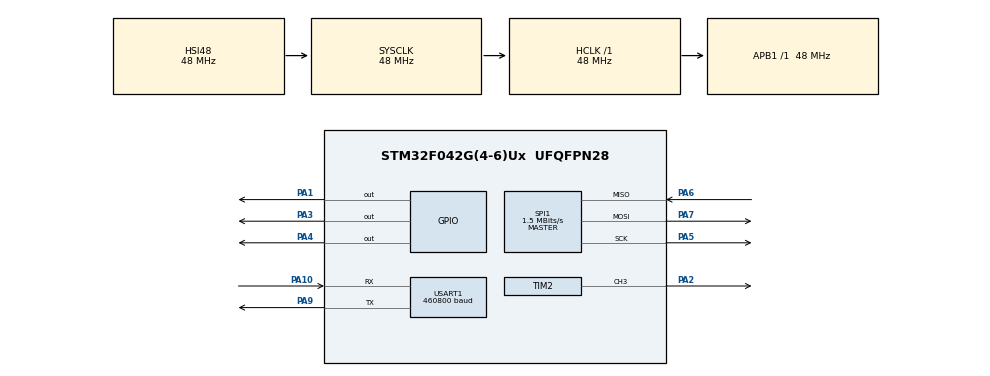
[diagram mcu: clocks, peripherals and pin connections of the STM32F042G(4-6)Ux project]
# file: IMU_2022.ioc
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Dma.Request0=SPI1_RX
Dma.Request1=SPI1_TX
Dma.Request2=USART1_TX
Dma.SPI1_RX.0.Direction=DMA_PERIPH_TO_MEMORY
Dma.SPI1_RX.0.Instance=DMA1_Channel2
Dma.SPI1_RX.0.MemDataAlignment=DMA_MDATAALIGN_BYTE
Dma.SPI1_RX.0.MemInc=DMA_MINC_ENABLE
Dma.SPI1_RX.0.Mode=DMA_CIRCULAR
Dma.SPI1_RX.0.PeriphDataAlignment=DMA_PDATAALIGN_BYTE
Dma.SPI1_RX.0.PeriphInc=DMA_PINC_DISABLE
Dma.SPI1_RX.0.Priority=DMA_PRIORITY_HIGH
Dma.SPI1_TX.1.Direction=DMA_MEMORY_TO_PERIPH
Dma.SPI1_TX.1.Instance=DMA1_Channel3
Dma.SPI1_TX.1.MemDataAlignment=DMA_MDATAALIGN_BYTE
Dma.SPI1_TX.1.MemInc=DMA_MINC_ENABLE
Dma.SPI1_TX.1.Mode=DMA_NORMAL
Dma.SPI1_TX.1.PeriphDataAlignment=DMA_PDATAALIGN_BYTE
Dma.SPI1_TX.1.PeriphInc=DMA_PINC_DISABLE
Dma.SPI1_TX.1.Priority=DMA_PRIORITY_LOW
Dma.USART1_TX.2.Direction=DMA_MEMORY_TO_PERIPH
Dma.USART1_TX.2.Instance=DMA1_Channel4
Dma.USART1_TX.2.MemDataAlignment=DMA_MDATAALIGN_BYTE
Dma.USART1_TX.2.MemInc=DMA_MINC_ENABLE
Dma.USART1_TX.2.Mode=DMA_NORMAL
Dma.USART1_TX.2.PeriphDataAlignment=DMA_PDATAALIGN_BYTE
Dma.USART1_TX.2.PeriphInc=DMA_PINC_DISABLE
Dma.USART1_TX.2.Priority=DMA_PRIORITY_LOW
Mcu.Family=STM32F0
Mcu.Name=STM32F042G(4-6)Ux
Mcu.Package=UFQFPN28
NVIC.DMA1_Channel2_3_IRQn=true\:0\:0\:false\:false\:true\:false\:true
NVIC.DMA1_Channel4_5_IRQn=true\:0\:0\:false\:false\:true\:false\:true
NVIC.USART1_IRQn=true\:0\:0\:false\:false\:true\:true\:true
PA1.GPIO_ModeDefaultOutputPP=GPIO_MODE_OUTPUT_OD
PA1.GPIO_PuPd=GPIO_PULLUP
PA1.GPIO_Speed=GPIO_SPEED_FREQ_HIGH
PA1.PinState=GPIO_PIN_SET
PA1.Signal=GPIO_Output
PA10.Mode=Asynchronous
PA10.Signal=USART1_RX
PA2.Signal=S_TIM2_CH3
PA3.GPIO_PuPd=GPIO_PULLUP
PA3.GPIO_Speed=GPIO_SPEED_FREQ_HIGH
PA3.PinState=GPIO_PIN_SET
PA3.Signal=GPIO_Output
PA4.GPIO_PuPd=GPIO_PULLUP
PA4.GPIO_Speed=GPIO_SPEED_FREQ_HIGH
PA4.PinState=GPIO_PIN_SET
PA4.Signal=GPIO_Output
PA5.Mode=Full_Duplex_Master
PA5.Signal=SPI1_SCK
PA6.Mode=Full_Duplex_Master
PA6.Signal=SPI1_MISO
PA7.Mode=Full_Duplex_Master
PA7.Signal=SPI1_MOSI
PA9.Mode=Asynchronous
PA9.Signal=USART1_TX
PF0-OSC_IN.Mode=HSE-External-Oscillator
PF0-OSC_IN.Signal=RCC_OSC_IN
PF1-OSC_OUT.Mode=HSE-External-Oscillator
PF1-OSC_OUT.Signal=RCC_OSC_OUT
ProjectManager.HeapSize=0x200
ProjectManager.StackSize=0x400
ProjectManager.TargetToolchain=MDK-ARM V5
RCC.AHBFreq_Value=48000000
RCC.APB1Freq_Value=48000000
RCC.APB1TimFreq_Value=48000000
RCC.HCLKFreq_Value=48000000
RCC.SYSCLKFreq_VALUE=48000000
RCC.SYSCLKSource=RCC_SYSCLKSOURCE_HSI48
SH.S_TIM2_CH3.0=TIM2_CH3,PWM Generation3 CH3
SPI1.BaudRatePrescaler=SPI_BAUDRATEPRESCALER_32
SPI1.CLKPhase=SPI_PHASE_2EDGE
SPI1.CLKPolarity=SPI_POLARITY_HIGH
SPI1.CalculateBaudRate=1.5 MBits/s
SPI1.DataSize=SPI_DATASIZE_8BIT
SPI1.Direction=SPI_DIRECTION_2LINES
SPI1.Mode=SPI_MODE_MASTER
SPI1.VirtualType=VM_MASTER
TIM2.Channel-PWM\ Generation3\ CH3=TIM_CHANNEL_3
TIM2.Period=9999
TIM2.Prescaler=47
TIM3.Prescaler=47
USART1.BaudRate=460800
USART1.Mode=MODE_TX
USART1.VirtualMode-Asynchronous=VM_ASYNC
VP_TIM2_VS_ClockSourceINT.Mode=Internal
VP_TIM3_VS_ClockSourceINT.Mode=Internal
board=custom

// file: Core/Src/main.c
/* USER CODE BEGIN Header */
/**
 ******************************************************************************
 * @file           : main.c
 * @brief          : Main program body
 ******************************************************************************
 * @attention
 *
 * <h2><center>&copy; Copyright (c) 2022 STMicroelectronics.
 * All rights reserved.</center></h2>
 *
 * This software component is licensed by ST under BSD 3-Clause license,
 * the "License"; You may not use this file except in compliance with the
 * License. You may obtain a copy of the License at:
 *                        opensource.org/licenses/BSD-3-Clause
 *
 ******************************************************************************
 */
/* USER CODE END Header */
#include "main.h"
#include "dma.h"
#include "spi.h"
#include "tim.h"
#include "usart.h"
#include "gpio.h"

/* USER CODE BEGIN PV */
int16_t gyro_bias[3], acc_bias[3];
float tempeature;
int8_t IMU_init_flag;
extern float icm_accel[3];
extern float acc_inti_norm;
int start_nums;
/* USER CODE END PV */

void SystemClock_Config(void);

int main(void)
{
  /* USER CODE BEGIN 1 */
  for (int i = 0; i < 10030; i++)
    ;
  /* USER CODE END 1 */

  /* MCU Configuration--------------------------------------------------------*/

  /* Reset of all peripherals, Initializes the Flash interface and the Systick. */
  HAL_Init();

  /* Configure the system clock */
  SystemClock_Config();

  /* Initialize all configured peripherals */
  MX_GPIO_Init();
  MX_DMA_Init();
  MX_SPI1_Init();
  MX_TIM2_Init();
  MX_TIM3_Init();
  MX_USART1_UART_Init();
  /* USER CODE BEGIN 2 */

  while (icm20602_init())
    ; //加速度计和陀螺仪初始化
      //  while(Init_QMC5883());    //磁力计初始化

  /* USER CODE END 2 */

  /* Infinite loop */
  /* USER CODE BEGIN WHILE */
  //
  Temp_init();                          //温度控制
                                        //
  icm_offset_call(gyro_bias, acc_bias); //(先升温)再校准一下陀螺仪
  //	 	icm20602_get_accel(icm_accel);              //读取加速度计数据
  //		acc_inti_norm = icm_accel[0]*icm_accel[0] + icm_accel[1]*icm_accel[1] +icm_accel[1]*icm_accel[1];
  HAL_Delay(5);
//  CAN_Init();

  LED_OFF; //自检结束后开始闪烁

  while (1)
  {
      start_nums++;
      if(start_nums>=500)
      {
        IMU_init_flag = 1;
      }
    /* USER CODE END WHILE */

    /* USER CODE BEGIN 3 */
    //tempeature = icm20602_get_temp();
    TempControl(); //温度控制
    HAL_Delay(1);  //延时必须，否则会导致systick中断中的SPI数据读取错误
  }
  /* USER CODE END 3 */
}

void SystemClock_Config(void)
{
  RCC_OscInitTypeDef RCC_OscInitStruct = {0};
  RCC_ClkInitTypeDef RCC_ClkInitStruct = {0};
  RCC_PeriphCLKInitTypeDef PeriphClkInit = {0};

  /** Initializes the RCC Oscillators according to the specified parameters
  * in the RCC_OscInitTypeDef structure.
  */
  RCC_OscInitStruct.OscillatorType = RCC_OSCILLATORTYPE_HSI48;
  RCC_OscInitStruct.HSI48State = RCC_HSI48_ON;
  RCC_OscInitStruct.PLL.PLLState = RCC_PLL_NONE;
  if (HAL_RCC_OscConfig(&RCC_OscInitStruct) != HAL_OK)
  {
    Error_Handler();
  }
  /** Initializes the CPU, AHB and APB buses clocks
  */
  RCC_ClkInitStruct.ClockType = RCC_CLOCKTYPE_HCLK|RCC_CLOCKTYPE_SYSCLK
                              |RCC_CLOCKTYPE_PCLK1;
  RCC_ClkInitStruct.SYSCLKSource = RCC_SYSCLKSOURCE_HSI48;
  RCC_ClkInitStruct.AHBCLKDivider = RCC_SYSCLK_DIV1;
  RCC_ClkInitStruct.APB1CLKDivider = RCC_HCLK_DIV1;

  if (HAL_RCC_ClockConfig(&RCC_ClkInitStruct, FLASH_LATENCY_1) != HAL_OK)
  {
    Error_Handler();
  }
  PeriphClkInit.PeriphClockSelection = RCC_PERIPHCLK_USART1;
  PeriphClkInit.Usart1ClockSelection = RCC_USART1CLKSOURCE_PCLK1;
  if (HAL_RCCEx_PeriphCLKConfig(&PeriphClkInit) != HAL_OK)
  {
    Error_Handler();
  }
}

void Error_Handler(void)
{
}

/************************ (C) COPYRIGHT STMicroelectronics *****END OF FILE****/
